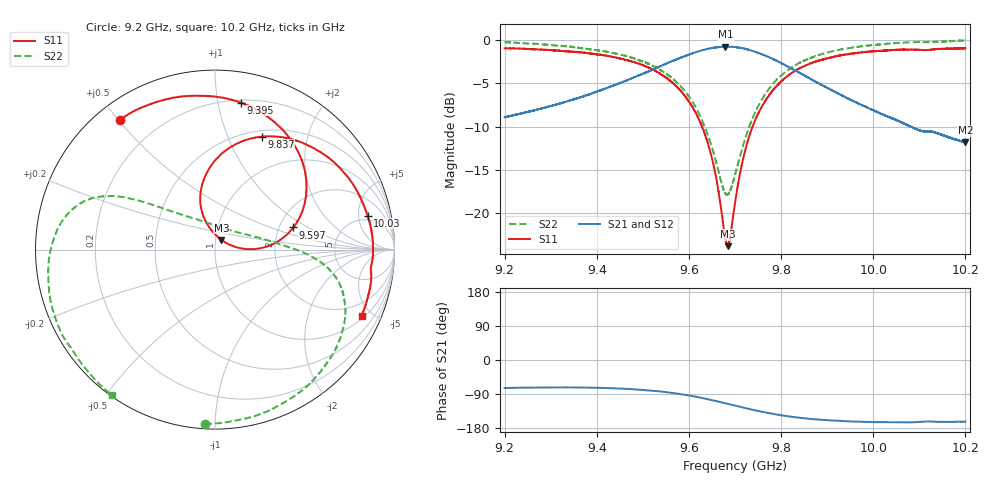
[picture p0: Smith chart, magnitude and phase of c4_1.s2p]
!Agilent Technologies,N5242A,MY51221714,A.09.90.19
!Agilent N5242A: A.09.90.19
!Date: Saturday, March 16, 2024 09:59:52
!Correction: S11(Full 2 Port(1,2))
!S21(Full 2 Port(1,2))
!S12(Full 2 Port(1,2))
!S22(Full 2 Port(1,2))
!S2P File: Measurements: S11, S21, S12, S22:
# Hz S  dB  R 50
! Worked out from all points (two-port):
!   16001 points, 9.2 GHz to 10.2 GHz, reference 50 ohm
!   highest |S21| = -0.75 dB at 9.679 GHz (marker M1); lowest = -11.8 dB at 10.2 GHz (marker M2)
!   |S21| within 3 dB of the highest: 9.507 GHz to 9.839 GHz (331.8 MHz wide, 3.43 % of centre)
!   lowest |S11| = -23.8 dB at 9.684 GHz (marker M3), VSWR 1.14, Z = 53.4 + j5.74 ohm
!   |S11| at or under -10 dB: 9.629 GHz to 9.738 GHz (109.4 MHz wide, 1.13 % of centre)
!   |S22| runs from -17.9 to 0.0 dB; largest |S21 - S12| = 0.012
!   S11 on the Smith chart (normalised r, x): 9.2 GHz: 0.07, +0.50; 9.395 GHz: 0.22, +1.17; 9.597 GHz: 2.38, +0.74; 9.837 GHz: 0.57, +1.33; 10.03 GHz: 4.15, +6.51; 10.2 GHz: 1.17, -4.35
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9.2e9  -0.96 126.3  -8.91 -73.9  -8.89 -74.5  -0.23 -93.3
9.277625e9  -1.10 108.7  -7.94 -72.7  -7.91 -73.1  -0.48 -72.1
9.366688e9  -1.44 87.4  -6.57 -72.7  -6.55 -73.3  -0.93 -48.8
9.394625e9  -1.60 80.1  -6.06 -73.1  -6.04 -73.7  -1.15 -41.7
9.463875e9  -2.30 60.9  -4.69 -76.1  -4.68 -76.7  -1.86 -26.0
9.533375e9  -3.75 38.8  -3.13 -82.4  -3.13 -82.9  -3.31 -12.3
9.596938e9  -6.88 15.8  -1.75 -92.9  -1.73 -93.5  -6.27 -1.5
9.645312e9  -12.69 1.0  -0.97 -104.5  -0.97 -105.1  -11.62 14.0
9.679188e9  -22.93 33.0  -0.75 -114.2  -0.75 -114.8  -17.69 62.4
9.68425e9  -23.80 56.0  -0.77 -115.8  -0.75 -116.3  -17.78 76.7
9.7e9  -18.82 101.5  -0.81 -120.3  -0.79 -121.0  -15.57 111.7
9.721562e9  -12.85 109.1  -1.01 -126.7  -0.99 -127.3  -11.47 133.5
9.748938e9  -8.64 101.1  -1.45 -134.2  -1.44 -134.8  -7.77 143.6
9.795375e9  -5.02 83.2  -2.53 -144.9  -2.53 -145.5  -4.34 150.9
9.837188e9  -3.35 67.6  -3.70 -151.9  -3.71 -152.5  -2.72 156.7
9.866688e9  -2.65 57.6  -4.57 -155.8  -4.56 -156.4  -2.02 161.0
9.947438e9  -1.62 33.3  -6.81 -162.0  -6.81 -162.5  -0.92 175.7
1.0029e10  -1.20 12.5  -8.79 -164.2  -8.78 -164.9  -0.44 -166.7
1.003338e10  -1.20 11.4  -8.88 -164.3  -8.87 -165.0  -0.42 -165.7
1.0104e10  -1.14 -4.8  -10.48 -163.1  -10.49 -163.7  -0.22 -149.4
1.019994e10  -0.97 -24.3  -11.83 -162.8  -11.81 -163.4  -0.05 -125.3
1.02e10  -0.96 -24.2  -11.82 -162.7  -11.81 -163.4  -0.05 -125.2
